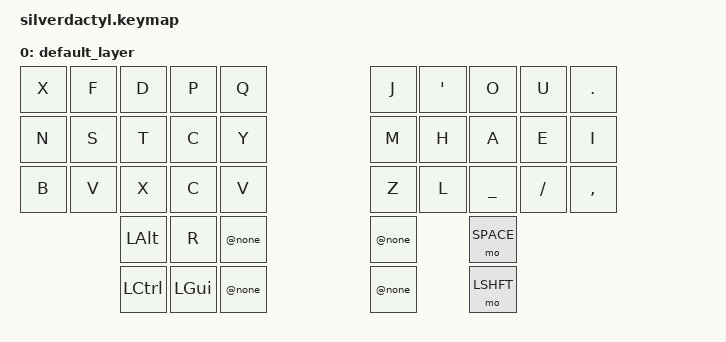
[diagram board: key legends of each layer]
/*
 * Copyright (c) 2020 The ZMK Contributors
 *
 * SPDX-License-Identifier: MIT
 */

 #include <behaviors.dtsi>
 #include <dt-bindings/zmk/keys.h>
 #include <dt-bindings/zmk/bt.h>
 #include <dt-bindings/zmk/rgb.h>
 #include <dt-bindings/zmk/ext_power.h>
 #include <dt-bindings/zmk/outputs.h>

 #define DEFAULT 0

/* NOTE: At the time of the creation of this keymap, there are no specified codes for 'eisuu' and 'kana' input in ZMK.
However, 'LANG1' and 'LANG2' are fully-functioning candidates for 'kana' and 'eisuu' input respectively.
As such, those are in use within the default layer at this time.*/

/ {
       keymap {
              compatible = "zmk,keymap";

              default_layer {

                     bindings = <

       &kp X      &kp F   &kp D     &kp P    &kp Q                       &kp J     &kp '     &kp O     &kp U      &kp PERIOD 
       &kp N      &kp S   &kp T     &kp C    &kp Y                       &kp M     &kp H     &kp A     &kp E      &kp I 
       &kp B      &kp V   &kp X     &kp C    &kp V                       &kp Z     &kp L     &kp UNDER &kp SLASH  &kp COMMA

                          &kp LALT  &kp R    &kp @none                   &kp @none           &mo SPACE 
                          &kp LCTRL &kp LGUI &kp @none                   &kp @none           &mo LSHFT 


                     >;
              };
       };
};
